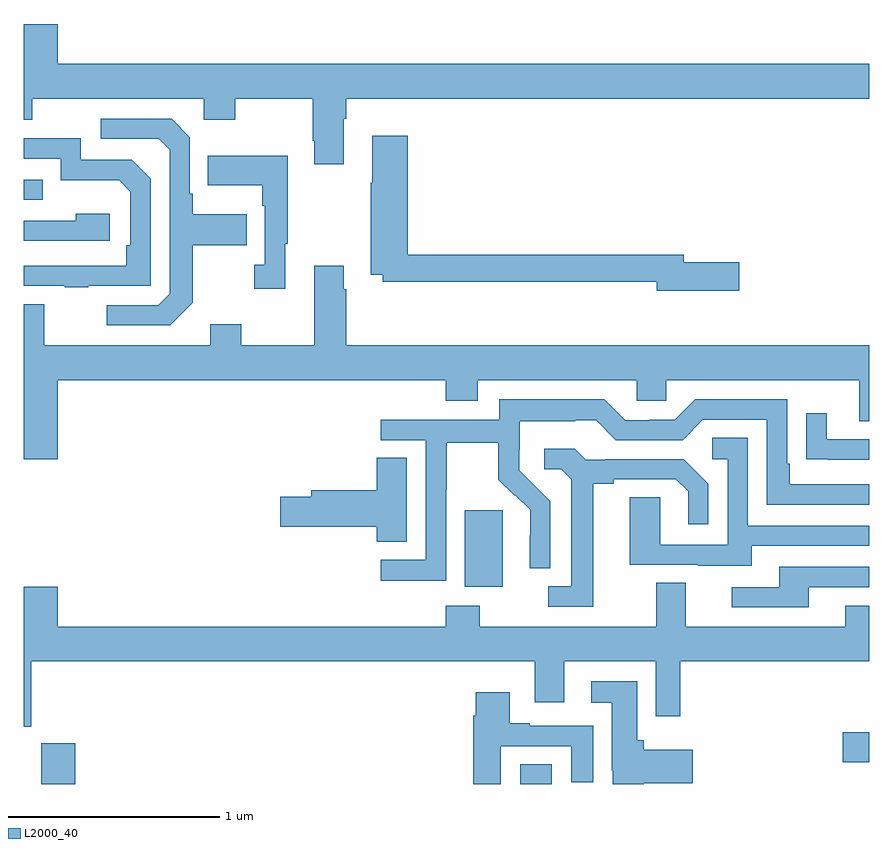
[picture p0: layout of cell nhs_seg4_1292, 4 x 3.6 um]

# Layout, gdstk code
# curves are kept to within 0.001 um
import gdstk
lib = gdstk.Library(unit=1e-6, precision=1e-09)
def R(c, l, rs):  # rectangles x0, y0, x1, y1
    for r in rs: c.add(gdstk.rectangle(r[:2], r[2:], *l))
def P(c, l, *ps):  # polygons
    for p in ps: c.add(gdstk.Polygon(p, *l))
L2000_40 = (2000, 40)

nhs_seg4_1292 = lib.new_cell('nhs_seg4_1292')
R(nhs_seg4_1292, L2000_40, [(177.082,802.9,177.242,803.092), (179.348,802.9,179.497,802.994), (180.876,803.003,181,803.145), (179.087,803.834,179.266,804.195), (177,805.665,177.089,805.761)])
P(nhs_seg4_1292, L2000_40, [(178.513,806.048),(178.526,806.048),(178.526,806.144),(181,806.144),(181,806.308),(177.16,806.308),(177.16,806.497),(177,806.497),(177,806.045),(177.039,806.045),(177.039,806.144),(177.852,806.144),(177.852,806.045),(177.999,806.045),(177.999,806.144),(178.366,806.144),(178.366,805.945),(178.373,805.945),(178.373,805.833),(178.513,805.833)],
  [(177.799,805.177),(177.799,805.45),(178.055,805.45),(178.055,805.597),(177.799,805.597),(177.799,805.693),(177.786,805.693),(177.786,805.962),(177.699,806.049),(177.363,806.049),(177.363,805.953),(177.639,805.953),(177.69,805.902),(177.69,805.221),(177.636,805.167),(177.393,805.167),(177.393,805.071),(177.693,805.071)],
  [(180.385,805.37),(180.124,805.37),(180.124,805.406),(178.817,805.406),(178.817,805.969),(178.649,805.969),(178.649,805.745),(178.642,805.745),(178.642,805.31),(178.698,805.31),(178.698,805.278),(179.996,805.278),(179.996,805.235),(180.385,805.235)],
  [(177.305,805.257),(177.6,805.257),(177.6,805.764),(177.51,805.854),(177.27,805.854),(177.27,805.956),(177,805.956),(177,805.86),(177.174,805.86),(177.174,805.757),(177.451,805.757),(177.504,805.704),(177.504,805.45),(177.484,805.45),(177.484,805.353),(177,805.353),(177,805.257),(177.193,805.257),(177.193,805.252),(177.305,805.252)],
  [(178.237,805.457),(178.249,805.457),(178.249,805.873),(177.871,805.873),(177.871,805.733),(178.128,805.733),(178.128,805.637),(178.14,805.637),(178.14,805.358),(178.089,805.358),(178.089,805.245),(178.237,805.245)],
  [(177.406,805.6),(177.245,805.6),(177.245,805.566),(177,805.566),(177,805.47),(177.406,805.47)],
  [(177.16,804.812),(178.997,804.812),(178.997,804.713),(179.149,804.713),(179.149,804.812),(179.901,804.812),(179.901,804.714),(180.039,804.714),(180.039,804.812),(180.953,804.812),(180.953,804.618),(181,804.618),(181,804.976),(178.526,804.976),(178.526,805.241),(178.513,805.241),(178.513,805.354),(178.373,805.354),(178.373,804.976),(178.029,804.976),(178.029,805.075),(177.881,805.075),(177.881,804.976),(177.097,804.976),(177.097,805.171),(177,805.171),(177,804.438),(177.16,804.438)],
  [(178.998,804.292),(179.001,804.292),(179.001,804.516),(179.245,804.516),(179.245,804.341),(179.322,804.264),(179.325,804.267),(179.396,804.197),(179.396,804.074),(179.394,804.074),(179.394,803.92),(179.49,803.92),(179.49,804.238),(179.344,804.386),(179.344,804.483),(179.346,804.483),(179.346,804.617),(179.609,804.617),(179.609,804.621),(179.709,804.621),(179.802,804.528),(180.117,804.528),(180.213,804.624),(180.516,804.624),(180.516,804.222),(181,804.222),(181,804.318),(180.625,804.318),(180.625,804.415),(180.612,804.415),(180.612,804.72),(180.177,804.72),(180.081,804.624),(179.963,804.624),(179.963,804.621),(179.847,804.621),(179.747,804.721),(179.25,804.721),(179.25,804.624),(178.689,804.624),(178.689,804.528),(178.902,804.528),(178.902,803.961),(178.689,803.961),(178.689,803.863),(178.998,803.863)],
  [(181,804.531),(180.799,804.531),(180.799,804.655),(180.703,804.655),(180.703,804.436),(180.805,804.436),(180.805,804.435),(181,804.435)],
  [(180.445,804.027),(181,804.027),(181,804.123),(180.426,804.123),(180.426,804.539),(180.258,804.539),(180.258,804.438),(180.33,804.438),(180.33,804.033),(180.012,804.033),(180.012,804.257),(179.867,804.257),(179.867,803.937),(180.191,803.937),(180.191,803.933),(180.445,803.933)],
  [(179.695,804.32),(179.791,804.32),(179.791,804.342),(180.086,804.342),(180.143,804.285),(180.143,804.129),(180.24,804.129),(180.24,804.322),(180.124,804.438),(179.752,804.438),(179.752,804.435),(179.658,804.435),(179.606,804.487),(179.463,804.487),(179.463,804.39),(179.544,804.39),(179.591,804.343),(179.591,803.835),(179.481,803.835),(179.481,803.739),(179.695,803.739)],
  [(178.813,804.443),(178.67,804.443),(178.67,804.29),(178.361,804.29),(178.361,804.26),(178.212,804.26),(178.212,804.118),(178.67,804.118),(178.67,804.046),(178.813,804.046)],
  [(180.715,803.832),(181,803.832),(181,803.928),(180.575,803.928),(180.575,803.832),(180.351,803.832),(180.351,803.736),(180.715,803.736)],
  [(179.417,803.286),(179.557,803.286),(179.557,803.48),(179.991,803.48),(179.991,803.22),(180.107,803.22),(180.107,803.48),(181,803.48),(181,803.743),(180.887,803.743),(180.887,803.644),(180.133,803.644),(180.133,803.852),(179.993,803.852),(179.993,803.644),(179.157,803.644),(179.157,803.743),(178.997,803.743),(178.997,803.644),(177.16,803.644),(177.16,803.833),(177,803.833),(177,803.171),(177.034,803.171),(177.034,803.48),(179.417,803.48)],
  [(179.933,802.904),(180.166,802.904),(180.166,803.062),(179.933,803.062),(179.933,803.106),(179.902,803.106),(179.902,803.386),(179.685,803.386),(179.685,803.285),(179.783,803.285),(179.783,802.966),(179.787,802.966),(179.787,802.9),(179.933,802.9)],
  [(179.257,803.079),(179.591,803.079),(179.591,802.908),(179.695,802.908),(179.695,803.175),(179.395,803.175),(179.395,803.188),(179.299,803.188),(179.299,803.335),(179.138,803.335),(179.138,803.222),(179.126,803.222),(179.126,802.9),(179.257,802.9)])

lib.write_gds('nhs_seg4_1292.gds')
